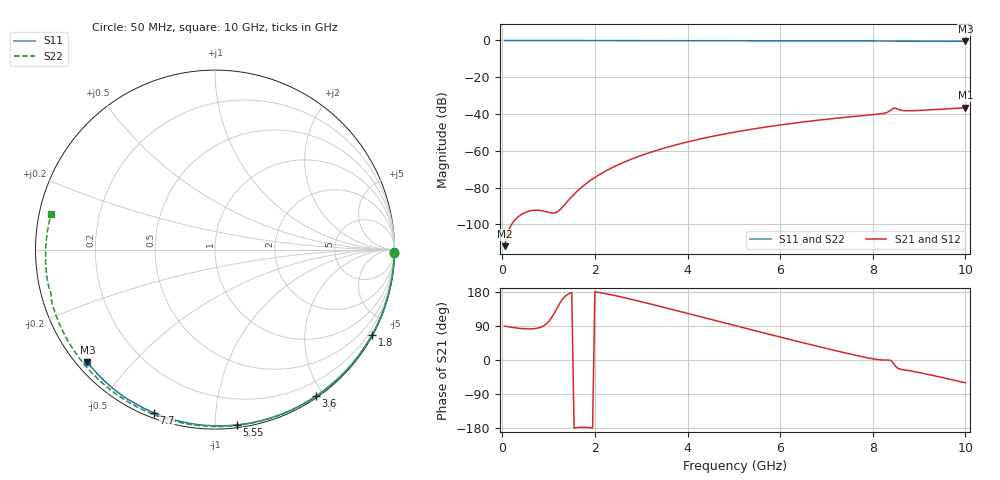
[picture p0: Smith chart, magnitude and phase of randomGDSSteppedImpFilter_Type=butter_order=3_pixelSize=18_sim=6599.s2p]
! freq	dB(S11)	phase(S11)	dB(S12)	phase(S12)
!  dB(S21)	phase(S21)	dB(S22)	phase(S22)
!S-par simulation data
#  GHz  S  DB  R 50
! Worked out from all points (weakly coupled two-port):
!   200 points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, 50 MHz to 10 GHz, reference 50 ohm
!   highest |S21| = -36.62 dB at 10 GHz (marker M1); lowest = -111.9 dB at 50 MHz (marker M2)
!   lowest |S11| = -0.5 dB at 10 GHz (marker M3), VSWR 37.34, Z = 1.53 - j18.9 ohm
!   |S11| at or under -10 dB: nowhere
!   |S22| runs from -0.6 to 0.0 dB; largest |S21 - S12| = 0
!   S11 on the Smith chart (normalised r, x): 50 MHz: open; 1.8 GHz: 0.03, -3.95; 3.6 GHz: 0.02, -1.90; 5.55 GHz: 0.02, -1.13; 7.7 GHz: 0.02, -0.69; 10 GHz: 0.03, -0.38
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0.05  -0.00 -0.8  -111.90 89.3  -111.90 89.3  -0.00 -1.2
0.85  -0.02 -13.5  -92.58 87.6  -92.58 87.6  -0.02 -19.3
1.7  -0.03 -26.9  -80.11 -177.5  -80.11 -177.5  -0.05 -38.2
1.75  -0.04 -27.7  -79.06 -177.5  -79.06 -177.5  -0.05 -39.3
1.8  -0.04 -28.4  -78.06 -177.7  -78.06 -177.7  -0.05 -40.4
2.1  -0.04 -33.1  -72.93 177.9  -72.93 177.9  -0.06 -46.9
2.5  -0.05 -39.2  -67.66 168.2  -67.66 168.2  -0.07 -55.3
2.9  -0.06 -45.2  -63.49 156.9  -63.49 156.9  -0.08 -63.7
3.4  -0.07 -52.6  -59.27 141.7  -59.27 141.7  -0.10 -73.8
3.6  -0.07 -55.5  -57.81 135.5  -57.81 135.5  -0.10 -77.8
4.3  -0.09 -65.6  -53.44 113.5  -53.44 113.5  -0.13 -91.4
5.05  -0.12 -76.0  -49.72 90.0  -49.72 90.0  -0.16 -105.3
5.55  -0.14 -82.8  -47.64 74.4  -47.64 74.4  -0.18 -114.4
6.7  -0.19 -97.9  -43.73 39.3  -43.73 39.3  -0.26 -134.5
7.7  -0.25 -110.6  -41.09 10.5  -41.09 10.5  -0.34 -151.7
8.2  -0.30 -116.7  -39.80 0.0  -39.80 0.0  -0.38 -160.4
8.35  -0.31 -118.5  -38.64 -0.1  -38.64 -0.1  -0.42 -163.2
8.45  -0.31 -119.7  -36.84 -9.0  -36.84 -9.0  -0.48 -164.7
8.65  -0.32 -122.2  -38.10 -25.6  -38.10 -25.6  -0.45 -167.9
8.8  -0.34 -124.1  -38.25 -28.5  -38.25 -28.5  -0.46 -170.5
9.4  -0.40 -131.3  -37.50 -43.5  -37.50 -43.5  -0.51 178.8
10  -0.47 -138.6  -36.62 -60.1  -36.62 -60.1  -0.59 167.8
